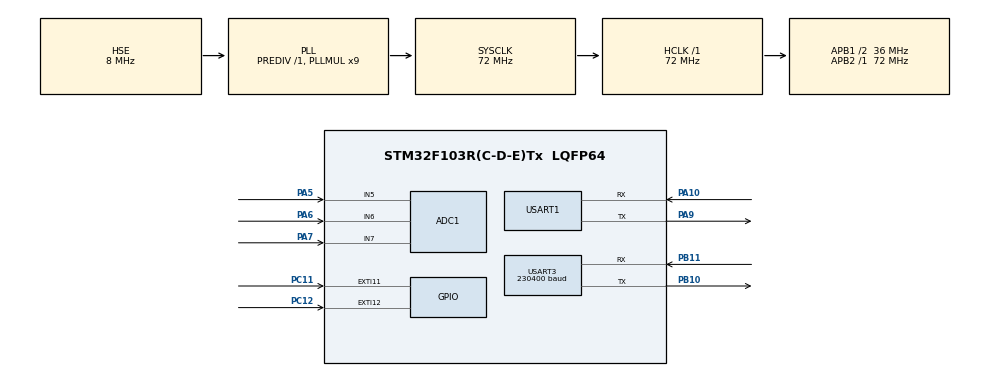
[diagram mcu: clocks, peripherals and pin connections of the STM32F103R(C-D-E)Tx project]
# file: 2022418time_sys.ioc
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ADC1.Channel-1\#ChannelRegularConversion=ADC_CHANNEL_7
ADC1.Channel-2\#ChannelRegularConversion=ADC_CHANNEL_6
ADC1.Channel-3\#ChannelRegularConversion=ADC_CHANNEL_5
ADC1.ContinuousConvMode=ENABLE
ADC1.NbrOfConversion=3
ADC1.NbrOfConversionFlag=1
ADC1.Rank-1\#ChannelRegularConversion=1
ADC1.Rank-2\#ChannelRegularConversion=2
ADC1.Rank-3\#ChannelRegularConversion=3
ADC1.SamplingTime-1\#ChannelRegularConversion=ADC_SAMPLETIME_7CYCLES_5
ADC1.SamplingTime-2\#ChannelRegularConversion=ADC_SAMPLETIME_7CYCLES_5
ADC1.SamplingTime-3\#ChannelRegularConversion=ADC_SAMPLETIME_7CYCLES_5
ADC1.master=1
Dma.ADC1.0.Direction=DMA_PERIPH_TO_MEMORY
Dma.ADC1.0.Instance=DMA1_Channel1
Dma.ADC1.0.MemDataAlignment=DMA_MDATAALIGN_WORD
Dma.ADC1.0.MemInc=DMA_MINC_ENABLE
Dma.ADC1.0.Mode=DMA_CIRCULAR
Dma.ADC1.0.PeriphDataAlignment=DMA_PDATAALIGN_WORD
Dma.ADC1.0.PeriphInc=DMA_PINC_DISABLE
Dma.ADC1.0.Priority=DMA_PRIORITY_MEDIUM
Dma.Request0=ADC1
Mcu.Family=STM32F1
Mcu.Name=STM32F103R(C-D-E)Tx
Mcu.Package=LQFP64
NVIC.DMA1_Channel1_IRQn=true\:0\:0\:true\:false\:true\:false\:true
NVIC.EXTI15_10_IRQn=true\:0\:0\:false\:false\:true\:true\:true
NVIC.PriorityGroup=NVIC_PRIORITYGROUP_4
NVIC.TIM3_IRQn=true\:2\:0\:true\:false\:true\:true\:true
PA10.Mode=Asynchronous
PA10.Signal=USART1_RX
PA13.Mode=Serial_Wire
PA13.Signal=SYS_JTMS-SWDIO
PA14.Mode=Serial_Wire
PA14.Signal=SYS_JTCK-SWCLK
PA5.Signal=ADCx_IN5
PA6.Signal=ADCx_IN6
PA7.Signal=ADCx_IN7
PA9.Mode=Asynchronous
PA9.Signal=USART1_TX
PB10.Mode=Asynchronous
PB10.Signal=USART3_TX
PB11.Mode=Asynchronous
PB11.Signal=USART3_RX
PC11.GPIO_ModeDefaultEXTI=GPIO_MODE_IT_FALLING
PC11.GPIO_PuPd=GPIO_PULLUP
PC11.Signal=GPXTI11
PC12.GPIO_ModeDefaultEXTI=GPIO_MODE_IT_FALLING
PC12.GPIO_PuPd=GPIO_PULLUP
PC12.Signal=GPXTI12
PD0-OSC_IN.Mode=HSE-External-Oscillator
PD0-OSC_IN.Signal=RCC_OSC_IN
PD1-OSC_OUT.Mode=HSE-External-Oscillator
PD1-OSC_OUT.Signal=RCC_OSC_OUT
ProjectManager.HeapSize=0x200
ProjectManager.StackSize=0x400
ProjectManager.TargetToolchain=MDK-ARM V5
RCC.ADCPresc=RCC_ADCPCLK2_DIV6
RCC.AHBFreq_Value=72000000
RCC.APB1CLKDivider=RCC_HCLK_DIV2
RCC.APB1Freq_Value=36000000
RCC.APB1TimFreq_Value=72000000
RCC.APB2Freq_Value=72000000
RCC.APB2TimFreq_Value=72000000
RCC.HCLKFreq_Value=72000000
RCC.PLLMUL=RCC_PLL_MUL9
RCC.PLLSourceVirtual=RCC_PLLSOURCE_HSE
RCC.SYSCLKFreq_VALUE=72000000
RCC.SYSCLKSource=RCC_SYSCLKSOURCE_PLLCLK
RCC.USBFreq_Value=72000000
SH.ADCx_IN5.0=ADC1_IN5,IN5
SH.ADCx_IN6.0=ADC1_IN6,IN6
SH.ADCx_IN7.0=ADC1_IN7,IN7
TIM3.AutoReloadPreload=TIM_AUTORELOAD_PRELOAD_ENABLE
TIM3.Period=9
TIM3.Prescaler=719
USART1.VirtualMode=VM_ASYNC
USART3.BaudRate=230400
USART3.VirtualMode=VM_ASYNC
VP_TIM3_VS_ClockSourceINT.Mode=Internal
board=custom

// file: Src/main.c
/* USER CODE BEGIN Header */
/**
  ******************************************************************************
  * @file           : main.c
  * @brief          : Main program body
  ******************************************************************************
  * @attention
  *
  * <h2><center>&copy; Copyright (c) 2022 STMicroelectronics.
  * All rights reserved.</center></h2>
  *
  * This software component is licensed by ST under BSD 3-Clause license,
  * the "License"; You may not use this file except in compliance with the
  * License. You may obtain a copy of the License at:
  *                        opensource.org/licenses/BSD-3-Clause
  *
  ******************************************************************************
  */
/* USER CODE END Header */

#include "main.h"
#include "adc.h"
#include "dma.h"
#include "tim.h"
#include "usart.h"
#include "gpio.h"

/* USER CODE BEGIN Includes */
#include "stdio.h"
#include "string.h"
#define buf_size 6
/* USER CODE END Includes */

/* USER CODE BEGIN PTD */
typedef enum {
	false = 0,
	true
}bool;

int fputc(int ch,FILE *f){
 uint8_t temp[1] = {ch};
 HAL_UART_Transmit(&huart1,temp,1,10);//huanrt  根据配置修改
 return ch;
}

int flag = 0;
volatile uint32_t adc_value[buf_size] = {0};
bool TIM_1ms    = false;
bool TIM_5ms    = false;
bool TIM_10ms   = false;
bool TIM_100ms  = false;
bool TIM_1000ms = false;

float send_data[buf_size] = {0};

typedef union {
	uint8_t i[4];
	float fl;
}my_fl;
my_fl var;
float tmp;
/* USER CODE END PTD */

/* USER CODE BEGIN PD */
#define long_time_threshold 1500
#define noise_threshold 50

/* USER CODE END PD */

void SystemClock_Config(void);

/* USER CODE BEGIN 0 */

//0x20空闲 0x24按下 0x28抬起 0x32按下前消抖 0x36抬起前消抖
void key_do()
{
	static uint8_t s = 0x20;
	static uint16_t cnt = 0;
	static uint16_t tmp = 0; //按下时长
	uint8_t key_v ;
	key_v = HAL_GPIO_ReadPin(GPIOC,GPIO_PIN_12);
	//0 按下 1 抬起
	switch(s){

		case 0x20 :       //不确定按键按下还是抖动
			if(0 == key_v)
			{
				s = 0x32;
				cnt = 0;
			}
			break;
		case 0x24 :		 //确定按下，开始计算按压时间

			if(key_v == 0)
				cnt++;
			else if(key_v == 1) //抬起？抖动
			{
				tmp += cnt;       //计算抖动前值和抖动至抬起的总时间
				cnt = 0;
			    s = 0x36;	}
			break;
		case 0x28 :              //确定按键已经抬起了  判断长按还是短按
			if(tmp > long_time_threshold)
				flag = 2;
			else if(tmp > 0)
				flag = 1;
			tmp = 0;
			s = 0x20;
			break;
		case 0x32 :                 //50ms抖动判定
			cnt++;
			if(cnt > noise_threshold)
			{
				cnt = 0;
				if(key_v == 1)
				{
					s = 0x20;
				}
				else if(key_v == 0 )
					s = 0x24;
			}
			break;

		case 0x36 :    //50ms上升抖动判定
			cnt++;
			if(cnt > noise_threshold)
			{
				cnt = 0;
				if(key_v == 1)
				{
					s = 0x28;
				}
				else if(key_v == 0 )
					s = 0x24;
			}
			break;
		default: break;
	}

}

void my_ADCsample(){

	HAL_ADC_Start_DMA(&hadc1,(uint32_t *)adc_value,buf_size);
}
void HAL_GPIO_EXTI_Callback(uint16_t GPIO_Pin)
{
	if (GPIO_Pin == GPIO_PIN_11)
	{

		printf("anxia\r\n");
		my_ADCsample();
	}

}
void HAL_ADC_ConvCpltCallback(ADC_HandleTypeDef* hadc){

//	static uint8_t i = 0;
//	send_data[i%2]   =  adc_value*3.3/4095;
//	i++;
//	if( i == 2  )
//	{
//
//		HAL_UART_Transmit(&huart1,(uint8_t *)send_data,sizeof(send_data),99);
//		i = 0;
//	}
////	send_data   =  adc_value*0.00080586080;
////	HAL_UART_Transmit(&huart1,(uint8_t *)&send_data,sizeof(send_data),1);

}

/**
  * @brief  定时器记满回调函数  (7199 99 ->10ms,7199 499 ->50ms)
  * @param  tim句柄 &htimx
  * @retval None
  */
void HAL_TIM_PeriodElapsedCallback(TIM_HandleTypeDef *htim)
{
	if(htim->Instance == TIM3) //0.1ms 进入
	{
		static uint32_t cnt = 0;
		cnt++;
		cnt % 1 == 0 ? TIM_1ms = true : false;

		cnt % 10 == 0 ? TIM_10ms = true : false;               //注意TIM_10ms 此处为 1ms 标志位
		cnt % 25 == 0 ? TIM_5ms = true : false;                //注意TIM_10ms 此处为2.5ms 标志位
		cnt % 100 == 0 ? TIM_100ms = true : false;
		cnt % 1000 == 0 ? (TIM_1000ms = true,cnt = 0) : false;

	}
}
/* USER CODE END 0 */

int main(void)
{
  /* USER CODE BEGIN 1 */
	var.fl = 1.123;
	static bool key_flag = false;
	static float cnt = 0;
  /* USER CODE END 1 */

  /* MCU Configuration--------------------------------------------------------*/

  /* Reset of all peripherals, Initializes the Flash interface and the Systick. */
  HAL_Init();

  /* Configure the system clock */
  SystemClock_Config();

  /* Initialize all configured peripherals */
  MX_GPIO_Init();
  MX_DMA_Init();
  MX_TIM3_Init();
  MX_USART1_UART_Init();
  MX_ADC1_Init();
  MX_USART3_UART_Init();
  /* USER CODE BEGIN 2 */
  //printf("hxh! hello.\r\n");
  HAL_TIM_Base_Start_IT(&htim3);                // 使能定时器3中断 0.1ms
  my_ADCsample();                               // 3通道adc DMA连续扫描采集

  /* USER CODE END 2 */

  /* Infinite loop */
  /* USER CODE BEGIN WHILE */
  while (1)
  {
	  if(TIM_1ms)
	  {     //1000float /s  115200bps
		TIM_1ms = false;
	  }

	  if(TIM_5ms)
	 {     								//2.5ms    6float      115200 bps/s
										//1000ms   2400float   9600B < 11520
										//3通道 每通道 (9600 / 3 )字节
		if(key_flag)
		{

			for(int i =0;i<buf_size;i++)
			{
				send_data[i] = adc_value[i] * 0.00080586080;

			}

			HAL_UART_Transmit(&huart1,(uint8_t *)send_data,sizeof(send_data),10);
			//HAL_UART_Transmit(&huart3,(uint8_t *)send_data,sizeof(send_data),10);
		 }

		TIM_5ms = false;
	  }

	  if(TIM_10ms)
	 {
		 key_do();
		TIM_10ms = false;
	  }

	  if(TIM_100ms)
	  {
		TIM_100ms = false;

	  }
	  if(TIM_1000ms)
	  {
		TIM_1000ms = false;
	  }

	  if(flag == 2)
	  {
		 flag = 0;
		printf("long1.5 event \r\n");
	  }
	  if(flag == 1)
	  {
		 flag = 0;
		//printf("short event \r\n");
		  key_flag = (key_flag == false) ?  true : false;
	  }

    /* USER CODE END WHILE */

  }
}

void SystemClock_Config(void)
{
  RCC_OscInitTypeDef RCC_OscInitStruct = {0};
  RCC_ClkInitTypeDef RCC_ClkInitStruct = {0};
  RCC_PeriphCLKInitTypeDef PeriphClkInit = {0};

  /** Initializes the CPU, AHB and APB busses clocks
  */
  RCC_OscInitStruct.OscillatorType = RCC_OSCILLATORTYPE_HSE;
  RCC_OscInitStruct.HSEState = RCC_HSE_ON;
  RCC_OscInitStruct.HSEPredivValue = RCC_HSE_PREDIV_DIV1;
  RCC_OscInitStruct.HSIState = RCC_HSI_ON;
  RCC_OscInitStruct.PLL.PLLState = RCC_PLL_ON;
  RCC_OscInitStruct.PLL.PLLSource = RCC_PLLSOURCE_HSE;
  RCC_OscInitStruct.PLL.PLLMUL = RCC_PLL_MUL9;
  if (HAL_RCC_OscConfig(&RCC_OscInitStruct) != HAL_OK)
  {
    Error_Handler();
  }
  /** Initializes the CPU, AHB and APB busses clocks
  */
  RCC_ClkInitStruct.ClockType = RCC_CLOCKTYPE_HCLK|RCC_CLOCKTYPE_SYSCLK
                              |RCC_CLOCKTYPE_PCLK1|RCC_CLOCKTYPE_PCLK2;
  RCC_ClkInitStruct.SYSCLKSource = RCC_SYSCLKSOURCE_PLLCLK;
  RCC_ClkInitStruct.AHBCLKDivider = RCC_SYSCLK_DIV1;
  RCC_ClkInitStruct.APB1CLKDivider = RCC_HCLK_DIV2;
  RCC_ClkInitStruct.APB2CLKDivider = RCC_HCLK_DIV1;

  if (HAL_RCC_ClockConfig(&RCC_ClkInitStruct, FLASH_LATENCY_2) != HAL_OK)
  {
    Error_Handler();
  }
  PeriphClkInit.PeriphClockSelection = RCC_PERIPHCLK_ADC;
  PeriphClkInit.AdcClockSelection = RCC_ADCPCLK2_DIV6;
  if (HAL_RCCEx_PeriphCLKConfig(&PeriphClkInit) != HAL_OK)
  {
    Error_Handler();
  }
}

void Error_Handler(void)
{
}

/************************ (C) COPYRIGHT STMicroelectronics *****END OF FILE****/
